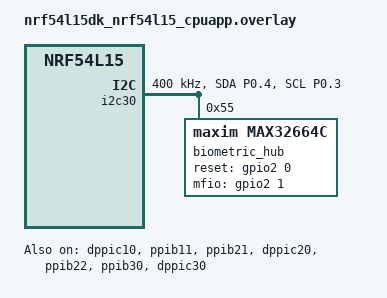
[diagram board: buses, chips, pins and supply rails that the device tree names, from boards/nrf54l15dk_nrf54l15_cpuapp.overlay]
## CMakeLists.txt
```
# SPDX-License-Identifier: Apache-2.0

cmake_minimum_required(VERSION 3.28.0)
find_package(Zephyr REQUIRED HINTS $ENV{ZEPHYR_BASE})
project(max32664c)

target_sources(app PRIVATE src/main.c)
```

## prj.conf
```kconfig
CONFIG_I2C=y
CONFIG_SENSOR=y

CONFIG_LOG=y
CONFIG_LOG_PRINTK=y

CONFIG_HEAP_MEM_POOL_SIZE=16384
```

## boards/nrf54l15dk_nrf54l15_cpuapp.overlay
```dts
/*
 * Copyright (c) 2025 Daniel Kampert
 *
 * SPDX-License-Identifier: Apache-2.0
 */

&pinctrl {
	i2c30_default: i2c30_default {
		group1 {
			psels = <NRF_PSEL(TWIM_SDA, 0, 4)>,
				<NRF_PSEL(TWIM_SCL, 0, 3)>;
			bias-pull-up;
		};
	};

	i2c30_sleep: i2c30_sleep {
		group1 {
			psels = <NRF_PSEL(TWIM_SDA, 0, 4)>,
				<NRF_PSEL(TWIM_SCL, 0, 3)>;
			low-power-enable;
		};
	};
};

/ {
	aliases {
		sensor = &biometric_hub;
	};
};

&i2c30 {
	compatible = "nordic,nrf-twim";
	clock-frequency = <I2C_BITRATE_FAST>;

	pinctrl-0 = <&i2c30_default>;
	pinctrl-1 = <&i2c30_sleep>;
	pinctrl-names = "default", "sleep";

	// Flash buffer size is needed for the I2C bootloader to flash the firmware
	zephyr,flash-buf-max-size = <8250>;
	status = "okay";

	biometric_hub: max32664c@55 {
		compatible = "maxim,max32664c";
		reg = <0x55>;
		reset-gpios = <&gpio2 0 GPIO_ACTIVE_HIGH>;
		mfio-gpios = <&gpio2 1 GPIO_ACTIVE_HIGH>;
		use-max86141;
		status = "okay";
	};
};

&dppic10 {
	status = "okay";
};

&ppib11 {
	status = "okay";
};

&ppib21 {
	status = "okay";
};

&dppic20 {
	status = "okay";
};

&ppib22 {
	status = "okay";
};

&ppib30 {
	status = "okay";
};

&dppic30 {
	status = "okay";
};
```

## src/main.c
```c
/*
 * Copyright (c) 2025 Daniel Kampert
 *
 * SPDX-License-Identifier: Apache-2.0
 */

#include <zephyr/kernel.h>
#include <zephyr/devicetree.h>
#include <zephyr/logging/log.h>
#include <zephyr/drivers/sensor.h>

#include <zephyr/drivers/sensor/max32664c.h>

static const struct device *const sensor_hub = DEVICE_DT_GET(DT_ALIAS(sensor));

LOG_MODULE_REGISTER(main, LOG_LEVEL_INF);

static void update(void)
{
	struct sensor_value value;

	sensor_sample_fetch(sensor_hub);
	sensor_attr_get(sensor_hub, SENSOR_CHAN_MAX32664C_HEARTRATE, SENSOR_ATTR_MAX32664C_OP_MODE,
			&value);
	if (value.val1 == MAX32664C_OP_MODE_RAW) {
		struct sensor_value x;
		struct sensor_value y;
		struct sensor_value z;

		if (sensor_channel_get(sensor_hub, SENSOR_CHAN_ACCEL_X, &x) ||
		    sensor_channel_get(sensor_hub, SENSOR_CHAN_ACCEL_Y, &y) ||
		    sensor_channel_get(sensor_hub, SENSOR_CHAN_ACCEL_Z, &z)) {
			LOG_ERR("Failed to get accelerometer data");
			return;
		}

		LOG_INF("\tx: %i", x.val1);
		LOG_INF("\ty: %i", y.val1);
		LOG_INF("\tz: %i", z.val1);
	} else if (value.val1 == MAX32664C_OP_MODE_ALGO_AEC) {
		struct sensor_value hr;

		if (sensor_channel_get(sensor_hub, SENSOR_CHAN_MAX32664C_HEARTRATE, &hr)) {
			LOG_ERR("Failed to get heart rate data");
			return;
		}

		LOG_INF("HR: %u bpm", hr.val1);
		LOG_INF("HR Confidence: %u", hr.val2);
	} else {
		LOG_WRN("Operation mode not implemented: %u", value.val1);
	}
}

int main(void)
{
	struct sensor_value value;

	if (!device_is_ready(sensor_hub)) {
		LOG_ERR("Sensor hub not ready!");
		return -1;
	}

	LOG_INF("Sensor hub ready");

	value.val1 = MAX32664C_OP_MODE_ALGO_AEC;
	value.val2 = MAX32664C_ALGO_MODE_CONT_HRM;
	sensor_attr_set(sensor_hub, SENSOR_CHAN_MAX32664C_HEARTRATE, SENSOR_ATTR_MAX32664C_OP_MODE,
			&value);

	while (1) {
		update();
		k_msleep(1000);
	}

	return 0;
}
```
